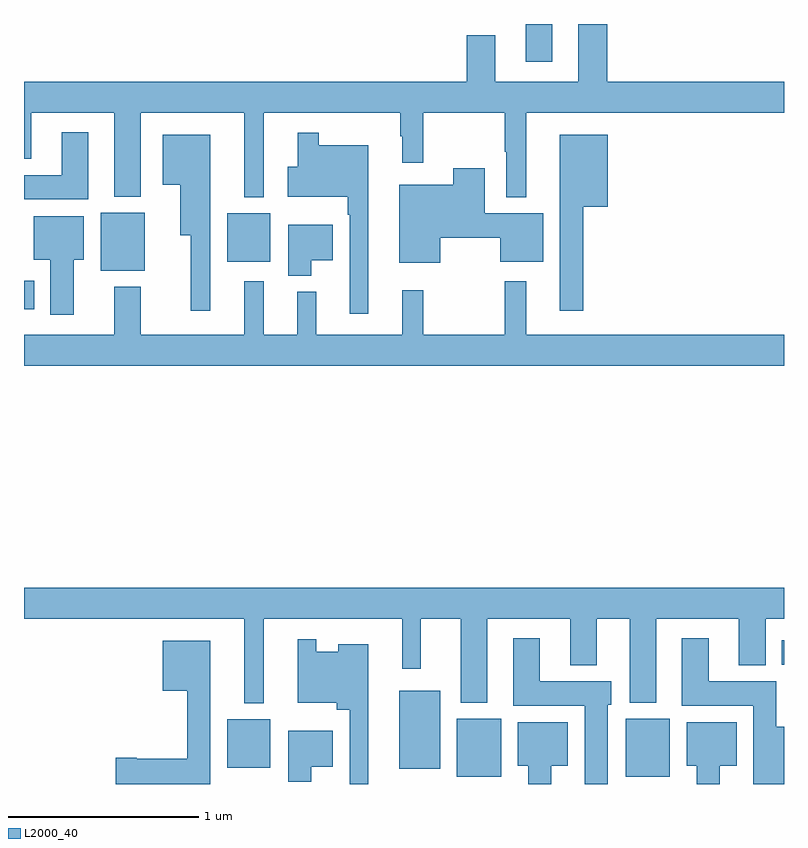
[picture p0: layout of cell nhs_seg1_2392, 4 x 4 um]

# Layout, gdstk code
import gdstk
lib = gdstk.Library(unit=1e-6, precision=1e-09)
def R(c, l, rs):  # rectangles x0, y0, x1, y1
    for r in rs: c.add(gdstk.rectangle(r[:2], r[2:], *l))
def P(c, l, *ps):  # polygons
    for p in ps: c.add(gdstk.Polygon(p, *l))
L2000_40 = (2000, 40)

nhs_seg1_2392 = lib.new_cell('nhs_seg1_2392')
R(nhs_seg1_2392, L2000_40, [(243.278,548.237,243.511,548.542), (244.166,548.237,244.399,548.542), (242.975,548.279,243.19,548.689), (242.069,548.285,242.296,548.539), (244.989,548.827,245,548.956), (241,550.697,241.054,550.849), (241.403,550.901,241.636,551.206), (242.069,550.949,242.296,551.203), (243.641,552,243.781,552.199)])
P(nhs_seg1_2392, L2000_40, [(242.263,551.732),(242.979,551.732),(242.979,551.609),(242.99,551.609),(242.99,551.469),(243.1,551.469),(243.1,551.732),(243.529,551.732),(243.529,551.527),(243.539,551.527),(243.539,551.288),(243.643,551.288),(243.643,551.732),(245,551.732),(245,551.896),(244.07,551.896),(244.07,552.199),(243.917,552.199),(243.917,551.896),(243.481,551.896),(243.481,552.139),(243.329,552.139),(243.329,551.896),(241,551.896),(241,551.489),(241.039,551.489),(241.039,551.732),(241.475,551.732),(241.475,551.291),(241.615,551.291),(241.615,551.732),(242.159,551.732),(242.159,551.288),(242.263,551.288)],
  [(241.339,551.629),(241.199,551.629),(241.199,551.404),(241,551.404),(241,551.276),(241.339,551.276)],
  [(242.812,551.56),(242.551,551.56),(242.551,551.626),(242.441,551.626),(242.441,551.449),(242.388,551.449),(242.388,551.291),(242.703,551.291),(242.703,551.195),(242.715,551.195),(242.715,550.674),(242.812,550.674)],
  [(241.981,551.617),(241.73,551.617),(241.73,551.354),(241.823,551.354),(241.823,551.087),(241.877,551.087),(241.877,550.689),(241.981,550.689)],
  [(243.943,551.237),(244.072,551.237),(244.072,551.617),(243.821,551.617),(243.821,550.689),(243.943,550.689)],
  [(243.19,551.075),(243.506,551.075),(243.506,550.949),(243.733,550.949),(243.733,551.203),(243.424,551.203),(243.424,551.44),(243.259,551.44),(243.259,551.353),(242.975,551.353),(242.975,550.943),(243.19,550.943)],
  [(241.261,550.958),(241.315,550.958),(241.315,551.188),(241.052,551.188),(241.052,550.958),(241.139,550.958),(241.139,550.668),(241.261,550.668)],
  [(242.512,550.955),(242.626,550.955),(242.626,551.143),(242.39,551.143),(242.39,550.874),(242.512,550.874)],
  [(245,550.564),(243.643,550.564),(243.643,550.846),(243.529,550.846),(243.529,550.564),(243.1,550.564),(243.1,550.798),(242.99,550.798),(242.99,550.564),(242.537,550.564),(242.537,550.789),(242.438,550.789),(242.438,550.564),(242.263,550.564),(242.263,550.846),(242.159,550.846),(242.159,550.564),(241.615,550.564),(241.615,550.816),(241.475,550.816),(241.475,550.564),(241,550.564),(241,550.4),(245,550.4)],
  [(242.263,549.068),(242.99,549.068),(242.99,548.805),(243.089,548.805),(243.089,549.068),(243.299,549.068),(243.299,548.627),(243.439,548.627),(243.439,549.068),(243.875,549.068),(243.875,548.825),(244.015,548.825),(244.015,549.068),(244.187,549.068),(244.187,548.627),(244.327,548.627),(244.327,549.068),(244.763,549.068),(244.763,548.825),(244.903,548.825),(244.903,549.068),(245,549.068),(245,549.232),(241,549.232),(241,549.068),(242.159,549.068),(242.159,548.624),(242.263,548.624)],
  [(244.072,548.616),(244.09,548.616),(244.09,548.74),(243.715,548.74),(243.715,548.965),(243.575,548.965),(243.575,548.612),(243.95,548.612),(243.95,548.199),(244.072,548.199)],
  [(245,548.5),(244.96,548.5),(244.96,548.74),(244.603,548.74),(244.603,548.965),(244.463,548.965),(244.463,548.612),(244.838,548.612),(244.838,548.199),(245,548.199)],
  [(242.812,548.935),(242.654,548.935),(242.654,548.896),(242.538,548.896),(242.538,548.962),(242.442,548.962),(242.442,548.627),(242.647,548.627),(242.647,548.591),(242.715,548.591),(242.715,548.199),(242.812,548.199)],
  [(241.981,548.953),(241.73,548.953),(241.73,548.69),(241.86,548.69),(241.86,548.331),(241.594,548.331),(241.594,548.336),(241.482,548.336),(241.482,548.199),(241.981,548.199)],
  [(244.663,548.294),(244.75,548.294),(244.75,548.524),(244.487,548.524),(244.487,548.294),(244.541,548.294),(244.541,548.199),(244.663,548.199)],
  [(243.775,548.294),(243.862,548.294),(243.862,548.524),(243.599,548.524),(243.599,548.294),(243.653,548.294),(243.653,548.199),(243.775,548.199)],
  [(242.512,548.291),(242.626,548.291),(242.626,548.479),(242.39,548.479),(242.39,548.21),(242.512,548.21)])

lib.write_gds('nhs_seg1_2392.gds')
